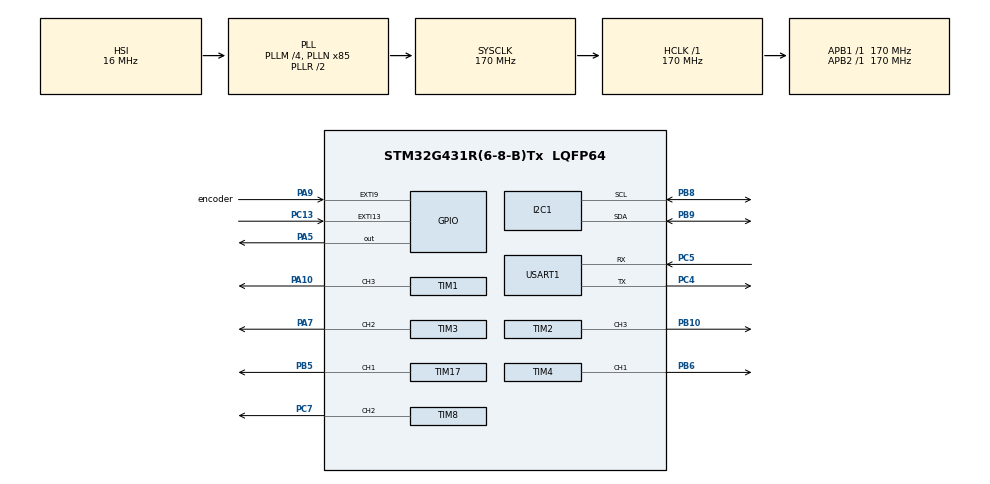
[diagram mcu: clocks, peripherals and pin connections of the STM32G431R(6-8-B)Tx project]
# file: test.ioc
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I2C1.Timing=0x40B285C2
Mcu.Family=STM32G4
Mcu.Name=STM32G431R(6-8-B)Tx
Mcu.Package=LQFP64
NUCLEO-G431RB.BUTTON=1
NUCLEO-G431RB.Bsp_Common_DEMO=true
NUCLEO-G431RB.LD1=true
NUCLEO-G431RB.VCP=true
NVIC.EXTI15_10_IRQn=true\:0\:0\:false\:false\:true\:false\:true\:true
NVIC.EXTI9_5_IRQn=true\:0\:0\:false\:false\:true\:true\:true\:true
NVIC.PriorityGroup=NVIC_PRIORITYGROUP_4
NVIC.USART1_IRQn=true\:0\:0\:false\:false\:true\:true\:true\:true
PA10.Signal=S_TIM1_CH3
PA13.GPIO_Label=T_SWDIO
PA13.Signal=SYS_JTMS-SWDIO
PA14.GPIO_Label=T_SWCLK
PA14.Signal=SYS_JTCK-SWCLK
PA2.Signal=LPUART1_TX
PA3.Signal=LPUART1_RX
PA5.Signal=GPIO_Output
PA7.Signal=S_TIM3_CH2
PA9.GPIO_Label=encoder
PA9.GPIO_ModeDefaultEXTI=GPIO_MODE_IT_FALLING
PA9.GPIO_PuPd=GPIO_PULLUP
PA9.Signal=GPXTI9
PB10.Signal=S_TIM2_CH3
PB5.Signal=S_TIM17_CH1
PB6.Signal=S_TIM4_CH1
PB8-BOOT0.Mode=I2C
PB8-BOOT0.Signal=I2C1_SCL
PB9.Mode=I2C
PB9.Signal=I2C1_SDA
PC13.Signal=GPXTI13
PC14-OSC32_IN.GPIO_Label=RCC_OSC32_OUT
PC14-OSC32_IN.Signal=RCC_OSC32_IN
PC15-OSC32_OUT.GPIO_Label=RCC_OSC32_OUT
PC15-OSC32_OUT.Signal=RCC_OSC32_OUT
PC4.Mode=Asynchronous
PC4.Signal=USART1_TX
PC5.Mode=Asynchronous
PC5.Signal=USART1_RX
PC7.Signal=S_TIM8_CH2
PF0-OSC_IN.GPIO_Label=RCC_OSC_IN
PF0-OSC_IN.Signal=RCC_OSC_IN
PF1-OSC_OUT.GPIO_Label=RCC_OSC_OUT
PF1-OSC_OUT.Signal=RCC_OSC_OUT
ProjectManager.HeapSize=0x200
ProjectManager.StackSize=0x400
ProjectManager.TargetToolchain=STM32CubeIDE
RCC.ADC12Freq_Value=170000000
RCC.AHBFreq_Value=170000000
RCC.APB1Freq_Value=170000000
RCC.APB1TimFreq_Value=170000000
RCC.APB2Freq_Value=170000000
RCC.APB2TimFreq_Value=170000000
RCC.CortexFreq_Value=170000000
RCC.EXTERNAL_CLOCK_VALUE=12288000
RCC.HCLKFreq_Value=170000000
RCC.HSE_VALUE=24000000
RCC.HSI48_VALUE=48000000
RCC.HSI_VALUE=16000000
RCC.LSE_VALUE=32768
RCC.PLLM=RCC_PLLM_DIV4
RCC.PLLN=85
RCC.RTCClockSelection=RCC_RTCCLKSOURCE_LSE
RCC.SYSCLKFreq_VALUE=170000000
RCC.SYSCLKSource=RCC_SYSCLKSOURCE_PLLCLK
RCC.USBFreq_Value=170000000
RCC.VCOOutputFreq_Value=340000000
SH.S_TIM17_CH1.0=TIM17_CH1,PWM Generation1 CH1
SH.S_TIM1_CH3.0=TIM1_CH3,PWM Generation3 CH3
SH.S_TIM2_CH3.0=TIM2_CH3,PWM Generation3 CH3
SH.S_TIM3_CH2.0=TIM3_CH2,PWM Generation2 CH2
SH.S_TIM4_CH1.0=TIM4_CH1,PWM Generation1 CH1
SH.S_TIM8_CH2.0=TIM8_CH2,PWM Generation2 CH2
TIM1.Channel-PWM\ Generation3\ CH3=TIM_CHANNEL_3
TIM1.PeriodNoDither=33-1
TIM1.Prescaler=170-1
TIM17.Channel=TIM_CHANNEL_1
TIM17.PeriodNoDither=33-1
TIM17.Prescaler=170-1
TIM2.Channel-PWM\ Generation3\ CH3=TIM_CHANNEL_3
TIM2.PeriodNoDither=33-1
TIM2.Prescaler=170-1
TIM3.Channel-PWM\ Generation2\ CH2=TIM_CHANNEL_2
TIM3.PeriodNoDither=33-1
TIM3.Prescaler=170-1
TIM4.Channel-PWM\ Generation1\ CH1=TIM_CHANNEL_1
TIM4.PeriodNoDither=33-1
TIM4.Prescaler=170-1
TIM8.Channel-PWM\ Generation2\ CH2=TIM_CHANNEL_2
TIM8.PeriodNoDither=33-1
TIM8.Prescaler=170-1
USART1.VirtualMode-Asynchronous=VM_ASYNC
VP_NUCLEO-G431RB_VS_BSP_COMMON.Mode=COMMON
VP_SYS_VS_DBSignals.Mode=DisableDeadBatterySignals
VP_TIM17_VS_ClockSourceINT.Mode=Enable_Timer
VP_TIM1_VS_ClockSourceINT.Mode=Internal
VP_TIM2_VS_ClockSourceINT.Mode=Internal
VP_TIM3_VS_ClockSourceINT.Mode=Internal
VP_TIM4_VS_ClockSourceINT.Mode=Internal
VP_TIM8_VS_ClockSourceINT.Mode=Internal
board=NUCLEO-G431RB

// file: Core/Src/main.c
/* USER CODE BEGIN Header */
/**
  ******************************************************************************
  * @file           : main.c
  * @brief          : Main program body
  ******************************************************************************
  * @attention
  *
  * Copyright (c) 2025 STMicroelectronics.
  * All rights reserved.
  *
  * This software is licensed under terms that can be found in the LICENSE file
  * in the root directory of this software component.
  * If no LICENSE file comes with this software, it is provided AS-IS.
  *
  ******************************************************************************
  */
/* USER CODE END Header */
#include "main.h"
#include "i2c.h"
#include "tim.h"
#include "usart.h"
#include "gpio.h"

/* USER CODE BEGIN Includes */
#include "lsm6dso32x_reg.h"
#include <string.h>
#include <stdlib.h>
#include <stdio.h>
/* USER CODE END Includes */

/* USER CODE BEGIN PTD */
typedef struct {
    int16_t x;
    int16_t y;
    int16_t z;
} imu_data_t;

/* USER CODE END PTD */

/* USER CODE BEGIN PD */
// Adres IMU (LSM6DSO32X) - 0x6A, dla funkcji HAL przesunięcie w lewo o 1 bit
#define IMU_ADDRESS (0x6A << 1)

// Wartość WHO_AM_I dla LSM6DSO32X to 0x6C
#define WHO_AM_I_VALUE 0x6C

// Zmienne IMU
#define ACCEL_SENSITIVITY_UG 244
#define GYRO_SENSITIVITY_UDPS 17500

// Zmienne UART
#define RX_BUFFER_SIZE 32
#define START_MARKER '['
#define END_MARKER ']'

// Zmienne pomiaru dystansu
#define CALCULATION_INTERVAL_MS 100
#define PULSES_PER_REVOLUTION 4 // Rozdzielczość enkodera (4 impulsy na obrót)
#define WHEEL_DIAMETER_M 0.075 // Średnica koła w metrach (75 mm)
#define PI 3.1415926535f
#define WHEEL_CIRCUMFERENCE_M (WHEEL_DIAMETER_M * PI)
#define MAX_RPS_THRESHOLD 10.0f

/* USER CODE END PD */

COM_InitTypeDef BspCOMInit;
__IO uint32_t BspButtonState = BUTTON_RELEASED;

/* USER CODE BEGIN PV */
uint8_t rxBuffer[RX_BUFFER_SIZE];
volatile uint8_t rxIndex = 0;
volatile uint8_t messageComplete = 0;

// Flagi sterujące
volatile char Steering = 'N';    // L/R/S/N (Left/Right/Straight/None)
volatile char Gear = 'N';        // F/B/N (Forward/Backward/None)
volatile uint16_t Duration = 0;   // Czas trwania manewru w ms
volatile char Lifting = 'N';

// Zmienna do śledzenia, czy jest segment jest w trakcie wykonywania
volatile uint8_t commandActive = 0;  // 0: oczekujący, 1: aktywny

// Pomiar dystansu
volatile uint32_t encoderPulseCount = 0;
volatile float linear_mps = 0.0f;
volatile float currentVelocity = 0.0f;
volatile uint32_t lastPulseCount = 0;
volatile uint32_t lastCalcTime = 0;
float rps = 0.0f;
volatile float lastGoodVelocity = 0.0f;

/* USER CODE END PV */

void SystemClock_Config(void);

/* USER CODE BEGIN 0 */
void imu_write_register(uint8_t reg, uint8_t value) {
    HAL_I2C_Mem_Write(&hi2c1, IMU_ADDRESS, reg, I2C_MEMADD_SIZE_8BIT, &value, 1, 1000);
}

void imu_read_registers(uint8_t reg, uint8_t *data, uint16_t len) {
    HAL_I2C_Mem_Read(&hi2c1, IMU_ADDRESS, reg, I2C_MEMADD_SIZE_8BIT, data, len, 1000);
}

// Inicjalizacja IMU
void imu_init(void) {
    uint8_t whoami;
    imu_read_registers(0x0F, &whoami, 1);
    if (whoami != WHO_AM_I_VALUE) {
        printf("Nie wykryto układu IMU: 0x%02X\n\r", whoami);
        while (1);
    }
    imu_write_register(0x12, 0x40);
    imu_write_register(0x10, 0x64);
    imu_write_register(0x11, 0x64);
}

void imu_read_accel(imu_data_t *accel) {
    uint8_t buffer[6];
    imu_read_registers(0x28, buffer, 6);
    accel->x = (int16_t)(buffer[0] | (buffer[1] << 8));
    accel->y = (int16_t)(buffer[2] | (buffer[3] << 8));
    accel->z = (int16_t)(buffer[4] | (buffer[5] << 8));
}

void imu_read_gyro(imu_data_t *gyro) {
    uint8_t buffer[6];
    imu_read_registers(0x22, buffer, 6);
    gyro->x = (int16_t)(buffer[0] | (buffer[1] << 8));
    gyro->y = (int16_t)(buffer[2] | (buffer[3] << 8));
    gyro->z = (int16_t)(buffer[4] | (buffer[5] << 8));
}

int32_t readGyroZ(){
    imu_data_t accel, gyro;
    imu_read_accel(&accel);
    imu_read_gyro(&gyro);

    return (int32_t)gyro.z * GYRO_SENSITIVITY_UDPS;
}

void parseMessage(char* msg) {
  if (!msg) {
      printf("Zły format wiadomości\n\r");
      return;
  }

  printf("Otrzymano wiadomość: %s\n\r", msg);
  char* ptr = msg;
  ptr += 2;

  // Iteracja po wiadomości aż do znaku ']' lub końca stringa
  while (*ptr != ']' && *ptr != '\0') {
      if (strncmp(ptr, "S:", 2) == 0) {
          ptr += 2;  // Pominięcie "S:"
          if (*ptr != '\0') {
              Steering = *ptr;
              ptr++;
          }
      }
      else if (strncmp(ptr, "G:", 2) == 0) {
          ptr += 2;  // Pominięcie "G:"
          if (*ptr != '\0') {
              Gear = *ptr;
              ptr++;
          }
      }

      else if (strncmp(ptr, "D:", 2) == 0) {
          ptr += 2;  // Pominięcie "D:"
          char* endPtr;
          long temp = strtol(ptr, &endPtr, 10);
          if (endPtr != ptr) {
        	  Duration = (uint16_t)temp;
            ptr = endPtr;
          }
      }

      else if (strncmp(ptr, "L:", 2) == 0) {
          ptr += 2;  // Pominięcie "L:"
          if (*ptr != '\0') {
        	  Lifting = *ptr;
              ptr++;
          }
      }

      // Pominęcie przecinka
      if (*ptr == ',') {
        ptr++;
      }
  }

  if (Steering == 'N' && Gear == 'N' && Lifting == 'N') {
    commandActive = 0;
  }
  else {
    commandActive = 1;
    lastCalcTime = HAL_GetTick();
  }

  printf("Przypisane flagi sterujące - S:%c G:%c D:%d L:%c\n\r",
		  Steering, Gear, Duration, Lifting);
}

void sendDataToPlot(float desiredVelocity, float currentVelocity, float error, float output) {
  int32_t desiredV_scaled = (int32_t)(desiredVelocity * 1000.0f);
  int32_t currentV_scaled = (int32_t)(currentVelocity * 1000.0f);
  int32_t error_scaled = (int32_t)(error * 1000.0f);
  int32_t output_scaled = (int32_t)(output * 1000.0f);

  int32_t gyro_udps_z = readGyroZ();

   // Bufor na wiadomość
   char rpi_buffer[100];

   // Formatowanie wiadomosci do wyslania przez USART1
   int len = sprintf(rpi_buffer, "%lu,%ld,%ld,%ld,%ld,%ld\n",
                     HAL_GetTick(),      // Millisekundy
                     desiredV_scaled,
                     currentV_scaled,
                     error_scaled,
                     output_scaled,
                     gyro_udps_z);

   if (len > 0) {
     HAL_UART_Transmit(&huart1, (uint8_t*)rpi_buffer, len, HAL_MAX_DELAY);
   }

}

void PIcontroller(volatile float m_desiredVelocity, volatile float m_currentVelocity){

	float current_velocity_truncated = (float)((int)(m_currentVelocity * 100.0f)) / 100.0f;
	float desired_velocity_truncated = (float)((int)(m_desiredVelocity * 100.0f)) / 100.0f;

	float error = desired_velocity_truncated - current_velocity_truncated;

	float pTerm = Kp * error;
	integralTerm += Ki * error * (CALCULATION_INTERVAL_MS / 1000.0f);

	// Ograniczenie całki (anti windup)
	if (integralTerm > maxIntegral) integralTerm = maxIntegral;
	else if (integralTerm < -maxIntegral) integralTerm = -maxIntegral;

	float output = pTerm + integralTerm;

	if (output > maxPWM) output = maxPWM;
	else if (output < minPWM) output = minPWM;

	// sendDataToPlot(m_desiredVelocity, m_currentVelocity, error, output);

  TIM8->CCR2 = (uint32_t)output;

}

void Drive() {

	HAL_TIM_PWM_Start(&htim8, TIM_CHANNEL_2);
	HAL_TIM_PWM_Start(&htim2, TIM_CHANNEL_3);
  switch (Gear)
  {
  case 'F': // F w ASCII 70
	  TIM2->CCR3 = 0;
    if (Controller == 0) {
      TIM8->CCR2 = 50;
      // sendDataToPlot(desiredVelocity, currentVelocity, 0, 50);
    }
    else if (Controller == 1) {
      PIcontroller(desiredVelocity, currentVelocity);
    }
    else {
      TIM8->CCR2 = 0;
    }

    break;
  case 'B': // 66
	  TIM8->CCR2 = 0;
	  TIM2->CCR3 = 30;
	  break;
  default:
    TIM8->CCR2 = 0;
    TIM2->CCR3 = 0;
    break;
  }
}

void Steer() {

	int PWMtoSteer = 100;

    switch (Steering)
    {
    case 'L': // 76
        TIM3->CCR2 = 0;
        HAL_TIM_PWM_Start(&htim3, TIM_CHANNEL_2);
        TIM4->CCR1 = PWMtoSteer;
        HAL_TIM_PWM_Start(&htim4, TIM_CHANNEL_1);
      break;
    case 'R': // 82
        TIM4->CCR1 = 0;
        HAL_TIM_PWM_Start(&htim4, TIM_CHANNEL_1);
        TIM3->CCR2 = PWMtoSteer;
        HAL_TIM_PWM_Start(&htim3, TIM_CHANNEL_2);
      break;
    default:
        TIM4->CCR1 = 0;
        HAL_TIM_PWM_Start(&htim4, TIM_CHANNEL_1);
        TIM3->CCR2 = 0;
        HAL_TIM_PWM_Start(&htim3, TIM_CHANNEL_2);
      break;
    }
}

void Lift(){
	switch(Lifting)
	{
    case 'U': // 85
    	TIM17->CCR1 = 0;
        HAL_TIM_PWM_Start(&htim1, TIM_CHANNEL_3);
        TIM1->CCR3 = 30;

        HAL_Delay(2000);
        TIM1->CCR3 = 0;
        HAL_TIM_PWM_Stop(&htim1, TIM_CHANNEL_3);
        Lifting = 'N';
        break;
    case 'D': // 68
    	TIM1->CCR3 = 0;
        HAL_TIM_PWM_Start(&htim17, TIM_CHANNEL_1);
        TIM17->CCR1 = 30;

        HAL_Delay(2000);
        TIM17->CCR1 = 0;
        HAL_TIM_PWM_Stop(&htim17, TIM_CHANNEL_1);
        Lifting = 'N';
        break;
    default:
        if (TIM1->CCR3 != 0) {
        	TIM1->CCR3 = 0;
        }

        if (TIM17->CCR1 != 0) {
        	TIM17->CCR1 = 0;
        }
      break;
	}
}

void calculateDistance() {
    float distance_per_pulse = WHEEL_CIRCUMFERENCE_M / PULSES_PER_REVOLUTION;

    float distance = (float)encoderPulseCount * distance_per_pulse * 1000;

    // Wysłanie wiadomości o dystansie przez UART
    int distanceINT = (int) distance;
    char distance_buffer[50];
    int len = sprintf(distance_buffer, "Dystans: %d\n", distanceINT);
    if (len > 0) {
        HAL_UART_Transmit(&huart1, (uint8_t*)distance_buffer, len, HAL_MAX_DELAY);
    }
    // Wyzerowanie enkodera
    encoderPulseCount = 0;
}

/* USER CODE END 0 */

int main(void)
{

  /* MCU Configuration--------------------------------------------------------*/

  /* Reset of all peripherals, Initializes the Flash interface and the Systick. */
  HAL_Init();

  /* Configure the system clock */
  SystemClock_Config();

  /* Initialize all configured peripherals */
  MX_GPIO_Init();
  MX_I2C1_Init();
  MX_USART1_UART_Init();
  MX_TIM3_Init();
  MX_TIM4_Init();
  MX_TIM8_Init();
  MX_TIM2_Init();
  MX_TIM1_Init();
  MX_TIM17_Init();
  /* USER CODE BEGIN 2 */
  HAL_UART_Receive_IT(&huart1, &rxBuffer[0], 1);

  /* USER CODE END 2 */

  /* Initialize leds */
  BSP_LED_Init(LED_GREEN);

  /* Initialize USER push-button, will be used to trigger an interrupt each time it's pressed.*/
  BSP_PB_Init(BUTTON_USER, BUTTON_MODE_EXTI);

  /* Inicializacja COM1 port (115200, 8 bits (7-bit data + 1 stop bit), no parity */
  BspCOMInit.BaudRate   = 115200;
  BspCOMInit.WordLength = COM_WORDLENGTH_8B;
  BspCOMInit.StopBits   = COM_STOPBITS_1;
  BspCOMInit.Parity     = COM_PARITY_NONE;
  BspCOMInit.HwFlowCtl  = COM_HWCONTROL_NONE;
  if (BSP_COM_Init(COM1, &BspCOMInit) != BSP_ERROR_NONE)
  {
    Error_Handler();
  }

  /* USER CODE BEGIN BSP */

  // Test wysyłania wiadomości COM1 port
  // printf("Hello world !\n\r");

  /* -- Sample board code to switch on leds ---- */
  BSP_LED_On(LED_GREEN);

  imu_init();  // Inicjalizacja IMU

  /* USER CODE END BSP */

  /* Infinite loop */
  /* USER CODE BEGIN WHILE */
  while (1)
  {
    if (messageComplete) {
        parseMessage((char*)rxBuffer);
        messageComplete = 0;
    }

    uint32_t now = HAL_GetTick();

    if (commandActive && (now - lastCalcTime < Duration)) {
        Drive();
        Steer();
        Lift();
        sendDataToPlot(0,0,0,0); // atrybuty 0, ponieważ zrezygnowano z regulacji prędkości

    } else if (commandActive) {
        Gear = 'N';
        Steering = 'N';
        Lifting = 'N';
        Drive();
        Steer();
        Lift();

        HAL_Delay(500);

        // Wysłanie znaku '1' do RPi oznaczającego koniec danego manewru
        char signal[3] = "1\n";  // Bufor wiadomości
        HAL_UART_Transmit(&huart1, (uint8_t*)signal, strlen(signal), HAL_MAX_DELAY);

        calculateDistance();

        // Reset
        commandActive = 0;
        Duration = 0;

    }

    //Część testowa z działania układów peryferyjnych z wykorzystaniem przycisku
    if (BspButtonState == BUTTON_PRESSED)
    {
      /* Update button state */
      BspButtonState = BUTTON_RELEASED;
      /* -- Sample board code to toggle leds ---- */
      BSP_LED_Toggle(LED_GREEN);

      /* ..... Perform your action ..... */
      printf("Hello World!\n\r");
      // readIMU();

      imu_data_t accel, gyro;
      imu_read_accel(&accel);
      imu_read_gyro(&gyro);

      // Compute scaled values using integer arithmetic
      int32_t accel_ug_x = (int32_t)accel.x * ACCEL_SENSITIVITY_UG;
      int32_t accel_ug_y = (int32_t)accel.y * ACCEL_SENSITIVITY_UG;
      int32_t accel_ug_z = (int32_t)accel.z * ACCEL_SENSITIVITY_UG;
      int32_t gyro_udps_x = (int32_t)gyro.x * GYRO_SENSITIVITY_UDPS;
      int32_t gyro_udps_y = (int32_t)gyro.y * GYRO_SENSITIVITY_UDPS;
      int32_t gyro_udps_z = (int32_t)gyro.z * GYRO_SENSITIVITY_UDPS;

      // printing
      printf("Accel [ug]: X=%ld, Y=%ld, Z=%ld\n\r",
              accel_ug_x, accel_ug_y, accel_ug_z);
      printf("Gyro [mdps]: X=%ld, Y=%ld, Z=%ld\n\r",
                    gyro_udps_x, gyro_udps_y, gyro_udps_z);

      HAL_Delay(100);

      // runMotor(Gear, Type, Velocity);

      // printf("Pulses counted: %ld\n\r", encoderPulseCount);
    }
    /* USER CODE END WHILE */

  }
}

void SystemClock_Config(void)
{
  RCC_OscInitTypeDef RCC_OscInitStruct = {0};
  RCC_ClkInitTypeDef RCC_ClkInitStruct = {0};

  /** Configure the main internal regulator output voltage
  */
  HAL_PWREx_ControlVoltageScaling(PWR_REGULATOR_VOLTAGE_SCALE1_BOOST);

  /** Initializes the RCC Oscillators according to the specified parameters
  * in the RCC_OscInitTypeDef structure.
  */
  RCC_OscInitStruct.OscillatorType = RCC_OSCILLATORTYPE_HSI;
  RCC_OscInitStruct.HSIState = RCC_HSI_ON;
  RCC_OscInitStruct.HSICalibrationValue = RCC_HSICALIBRATION_DEFAULT;
  RCC_OscInitStruct.PLL.PLLState = RCC_PLL_ON;
  RCC_OscInitStruct.PLL.PLLSource = RCC_PLLSOURCE_HSI;
  RCC_OscInitStruct.PLL.PLLM = RCC_PLLM_DIV4;
  RCC_OscInitStruct.PLL.PLLN = 85;
  RCC_OscInitStruct.PLL.PLLP = RCC_PLLP_DIV2;
  RCC_OscInitStruct.PLL.PLLQ = RCC_PLLQ_DIV2;
  RCC_OscInitStruct.PLL.PLLR = RCC_PLLR_DIV2;
  if (HAL_RCC_OscConfig(&RCC_OscInitStruct) != HAL_OK)
  {
    Error_Handler();
  }

  /** Initializes the CPU, AHB and APB buses clocks
  */
  RCC_ClkInitStruct.ClockType = RCC_CLOCKTYPE_HCLK|RCC_CLOCKTYPE_SYSCLK
                              |RCC_CLOCKTYPE_PCLK1|RCC_CLOCKTYPE_PCLK2;
  RCC_ClkInitStruct.SYSCLKSource = RCC_SYSCLKSOURCE_PLLCLK;
  RCC_ClkInitStruct.AHBCLKDivider = RCC_SYSCLK_DIV1;
  RCC_ClkInitStruct.APB1CLKDivider = RCC_HCLK_DIV1;
  RCC_ClkInitStruct.APB2CLKDivider = RCC_HCLK_DIV1;

  if (HAL_RCC_ClockConfig(&RCC_ClkInitStruct, FLASH_LATENCY_4) != HAL_OK)
  {
    Error_Handler();
  }
}

/* USER CODE BEGIN 4 */
void HAL_UART_RxCpltCallback(UART_HandleTypeDef *huart) {
  if (huart->Instance == USART1) {
      if (rxIndex == 0 && rxBuffer[0] != START_MARKER) {
          HAL_UART_Receive_IT(&huart1, &rxBuffer[0], 1);
          return;
      }

      if (rxBuffer[rxIndex] == END_MARKER) {
          rxBuffer[rxIndex + 1] = '\0';
          messageComplete = 1;
          rxIndex = 0;
      } else if (rxIndex < RX_BUFFER_SIZE - 2) {
          rxIndex++;
      }

      HAL_UART_Receive_IT(&huart1, &rxBuffer[rxIndex], 1);
  }
}

void HAL_GPIO_EXTI_Callback(uint16_t GPIO_Pin) {
    if (GPIO_Pin == GPIO_PIN_9) { // Przerwanie od enkodera
        encoderPulseCount++;
        BSP_LED_Toggle(LED_GREEN);
    }
}
/* USER CODE END 4 */

/**
  * @brief  BSP Push Button callback
  * @param  Button Specifies the pressed button
  * @retval None
  */
void BSP_PB_Callback(Button_TypeDef Button)
{
  if (Button == BUTTON_USER)
  {
    BspButtonState = BUTTON_PRESSED;
  }
}

void Error_Handler(void)
{
  __disable_irq();
  while (1)
  {
  }
}
